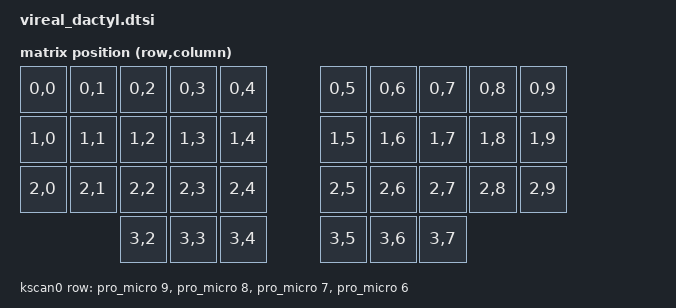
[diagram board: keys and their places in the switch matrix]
#include <dt-bindings/zmk/matrix_transform.h>
#include "vireal_dactyl-layouts.dtsi"
#define ZMK_POINTING_DEFAULT_MOVE_VAL 600  // default: 600
#define ZMK_POINTING_DEFAULT_SCRL_VAL 10    // default: 10
#include <dt-bindings/zmk/pointing.h>


/ {
    chosen {
        zmk,physical-layout = &vireal_physical_layout;
        zephyr,display = &oled;  // Add reference to display
    };

    default_transform: keymap_transform_0 {
        compatible = "zmk,matrix-transform";
        columns = <10>;
        rows = <4>;
        map = <
        //  LKey 1 |LKey 2 |LKey 3 |LKey 4 |LKey 5          RKey 1 |RKey 2 |RKey 3 |RKey 4 |RKey 5 
            RC(0,0) RC(0,1) RC(0,2) RC(0,3) RC(0,4)         RC(0,5) RC(0,6) RC(0,7) RC(0,8) RC(0,9)
        //  LKey 7 |LKey 8 |LKey 9 |LKey 10 |LKey 11      RKey 6 |RKey 7 |RKey 8 |RKey 9 |RKey 10 
            RC(1,0) RC(1,1) RC(1,2) RC(1,3) RC(1,4)       RC(1,5) RC(1,6) RC(1,7) RC(1,8) RC(1,9)
        //  LKey 13 |LKey 14 |LKey 15 |LKey 16 |LKey 18    RKey 11 |RKey 12 |RKey 13 |RKey 14 |RKey 15 
            RC(2,0) RC(2,1) RC(2,2) RC(2,3) RC(2,4)        RC(2,5)  RC(2,6) RC(2,7) RC(2,8) RC(2,9)
        //                 LKey 19 |LKey 20 |LKey 21       RKey 16 |RKey 17 |RKey 18
                        RC(3,2) RC(3,3) RC(3,4)         RC(3,5) RC(3,6) RC(3,7)
        >;
    };

    kscan0: kscan0 {
        compatible = "zmk,kscan-gpio-matrix";
        diode-direction = "col2row";
        wakeup-source;

        row-gpios
            = <&pro_micro 9 (GPIO_ACTIVE_HIGH | GPIO_PULL_DOWN)>
	        , <&pro_micro 8 (GPIO_ACTIVE_HIGH | GPIO_PULL_DOWN)>
	        , <&pro_micro 7 (GPIO_ACTIVE_HIGH | GPIO_PULL_DOWN)>
            , <&pro_micro 6 (GPIO_ACTIVE_HIGH | GPIO_PULL_DOWN)>
            ;
    };
};

// For Pro Micro, we'll use the Arduino pins
&pinctrl {
    i2c0_default: i2c0_default {
        group1 {
            psels = <NRF_PSEL(TWIM_SDA, 0, 20)>,
                   <NRF_PSEL(TWIM_SCL, 0, 22)>;
        };
    };

    i2c0_sleep: i2c0_sleep {
        group1 {
            psels = <NRF_PSEL(TWIM_SDA, 0, 20)>,
                   <NRF_PSEL(TWIM_SCL, 0, 22)>;
            low-power-enable;
        };
    };
};

&i2c0 {
    compatible = "nordic,nrf-twi";
    status = "okay";
    pinctrl-0 = <&i2c0_default>;
    pinctrl-1 = <&i2c0_sleep>;
    pinctrl-names = "default", "sleep";
    clock-frequency = <I2C_BITRATE_STANDARD>;

    oled: ssd1306@3c {
        compatible = "solomon,ssd1306fb";
        reg = <0x3c>;
        width = <128>;
        height = <32>;
        segment-offset = <0>;
        page-offset = <0>;
        display-offset = <0>;
        multiplex-ratio = <31>;
        segment-remap;
        com-invdir;
        com-sequential;
        inversion-on;
        prechargep = <0x22>;
    };

    // Add this diagnostic scanner
    i2c_scanner: i2c_scanner@76 {
        compatible = "vnd,i2c-scanner";
        reg = <0x76>;
        status = "okay";
    };
};
